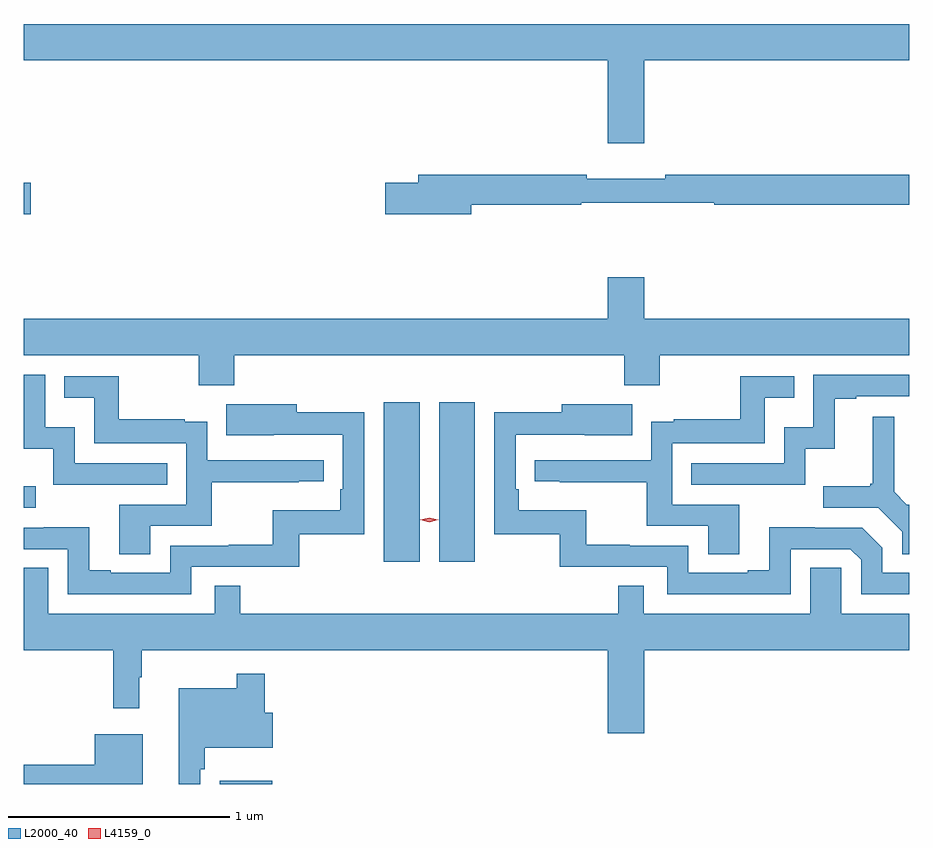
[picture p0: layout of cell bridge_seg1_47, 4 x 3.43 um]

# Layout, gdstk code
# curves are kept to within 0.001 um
import gdstk
lib = gdstk.Library(unit=1e-6, precision=1e-09)
def R(c, l, rs):  # rectangles x0, y0, x1, y1
    for r in rs: c.add(gdstk.rectangle(r[:2], r[2:], *l))
def P(c, l, *ps):  # polygons
    for p in ps: c.add(gdstk.Polygon(p, *l))
L2000_40 = (2000, 40)
L4159_0 = (4159, 0)

bridge_seg1_47 = lib.new_cell('bridge_seg1_47')
R(bridge_seg1_47, L2000_40, [(1086.332,545.8,1086.568,545.815), (1087.073,546.804,1087.234,547.525), (1087.322,546.804,1087.483,547.525), (1085.446,547.047,1085.5,547.144), (1085.446,548.374,1085.479,548.516)])
P(bridge_seg1_47, L2000_40, [(1088.248,549.068),(1089.446,549.068),(1089.446,549.232),(1085.446,549.232),(1085.446,549.068),(1088.084,549.068),(1088.084,548.694),(1088.248,548.694)],
  [(1087.468,548.416),(1087.964,548.416),(1087.964,548.424),(1088.564,548.424),(1088.564,548.416),(1089.446,548.416),(1089.446,548.552),(1088.344,548.552),(1088.344,548.533),(1087.988,548.533),(1087.988,548.552),(1087.229,548.552),(1087.229,548.516),(1087.08,548.516),(1087.08,548.374),(1087.468,548.374)],
  [(1086.398,547.736),(1088.159,547.736),(1088.159,547.601),(1088.319,547.601),(1088.319,547.736),(1089.446,547.736),(1089.446,547.9),(1088.248,547.9),(1088.248,548.089),(1088.084,548.089),(1088.084,547.9),(1085.446,547.9),(1085.446,547.736),(1086.238,547.736),(1086.238,547.601),(1086.398,547.601)],
  [(1086.095,547.248),(1085.676,547.248),(1085.676,547.411),(1085.544,547.411),(1085.544,547.647),(1085.446,547.647),(1085.446,547.539),(1085.447,547.539),(1085.447,547.313),(1085.58,547.313),(1085.58,547.152),(1086.095,547.152)],
  [(1088.976,547.313),(1089.109,547.313),(1089.109,547.539),(1089.205,547.539),(1089.205,547.551),(1089.446,547.551),(1089.446,547.647),(1089.012,547.647),(1089.012,547.411),(1088.88,547.411),(1088.88,547.248),(1088.461,547.248),(1088.461,547.152),(1088.976,547.152)],
  [(1086.019,546.966),(1086.296,546.966),(1086.296,547.162),(1086.689,547.162),(1086.689,547.167),(1086.802,547.167),(1086.802,547.263),(1086.276,547.263),(1086.276,547.435),(1086.173,547.435),(1086.173,547.447),(1085.875,547.447),(1085.875,547.641),(1085.629,547.641),(1085.629,547.544),(1085.764,547.544),(1085.764,547.338),(1086.18,547.338),(1086.18,547.062),(1085.879,547.062),(1085.879,546.838),(1086.019,546.838)],
  [(1088.677,547.062),(1088.376,547.062),(1088.376,547.338),(1088.793,547.338),(1088.793,547.544),(1088.927,547.544),(1088.927,547.641),(1088.682,547.641),(1088.682,547.447),(1088.383,547.447),(1088.383,547.435),(1088.28,547.435),(1088.28,547.263),(1087.755,547.263),(1087.755,547.167),(1087.867,547.167),(1087.867,547.162),(1088.26,547.162),(1088.26,546.966),(1088.537,546.966),(1088.537,546.838),(1088.677,546.838)],
  [(1086.204,546.78),(1086.691,546.78),(1086.691,546.927),(1086.984,546.927),(1086.984,547.478),(1086.679,547.478),(1086.679,547.516),(1086.361,547.516),(1086.361,547.376),(1086.575,547.376),(1086.575,547.377),(1086.888,547.377),(1086.888,547.132),(1086.875,547.132),(1086.875,547.036),(1086.57,547.036),(1086.57,546.881),(1086.373,546.881),(1086.373,546.876),(1086.108,546.876),(1086.108,546.753),(1085.839,546.753),(1085.839,546.766),(1085.743,546.766),(1085.743,546.959),(1085.538,546.959),(1085.538,546.957),(1085.446,546.957),(1085.446,546.861),(1085.646,546.861),(1085.646,546.657),(1086.204,546.657)],
  [(1088.91,546.861),(1089.18,546.861),(1089.228,546.813),(1089.228,546.657),(1089.446,546.657),(1089.446,546.753),(1089.324,546.753),(1089.324,546.867),(1089.234,546.957),(1089.018,546.957),(1089.018,546.959),(1088.813,546.959),(1088.813,546.766),(1088.717,546.766),(1088.717,546.753),(1088.448,546.753),(1088.448,546.876),(1088.183,546.876),(1088.183,546.881),(1087.987,546.881),(1087.987,547.036),(1087.682,547.036),(1087.682,547.132),(1087.668,547.132),(1087.668,547.377),(1088.195,547.376),(1088.195,547.516),(1087.877,547.516),(1087.877,547.478),(1087.572,547.478),(1087.572,546.927),(1087.866,546.927),(1087.866,546.78),(1088.352,546.78),(1088.352,546.657),(1088.91,546.657)],
  [(1089.446,547.062),(1089.435,547.062),(1089.378,547.119),(1089.378,547.459),(1089.281,547.459),(1089.281,547.156),(1089.27,547.156),(1089.27,547.144),(1089.057,547.144),(1089.057,547.047),(1089.306,547.047),(1089.413,546.94),(1089.413,546.838),(1089.446,546.838)],
  [(1088.248,546.404),(1089.446,546.404),(1089.446,546.568),(1089.138,546.568),(1089.138,546.776),(1088.999,546.776),(1088.999,546.568),(1088.247,546.568),(1088.247,546.695),(1088.131,546.695),(1088.131,546.568),(1086.425,546.568),(1086.425,546.695),(1086.309,546.695),(1086.309,546.568),(1085.557,546.568),(1085.557,546.776),(1085.446,546.776),(1085.446,546.404),(1085.851,546.404),(1085.851,546.141),(1085.968,546.141),(1085.968,546.281),(1085.98,546.281),(1085.98,546.404),(1088.084,546.404),(1088.084,546.03),(1088.248,546.03)],
  [(1086.243,545.867),(1086.263,545.867),(1086.263,545.963),(1086.571,545.963),(1086.571,546.121),(1086.536,546.121),(1086.536,546.298),(1086.408,546.298),(1086.408,546.232),(1086.146,546.232),(1086.146,545.8),(1086.243,545.8)],
  [(1085.983,546.025),(1085.768,546.025),(1085.768,545.888),(1085.446,545.888),(1085.446,545.8),(1085.983,545.8)])
P(bridge_seg1_47, L4159_0, [(1087.278,546.983),(1087.238,546.993),(1087.238,546.993),(1087.238,546.994),(1087.278,547.003),(1087.318,546.994),(1087.318,546.993),(1087.318,546.993)])

lib.write_gds('bridge_seg1_47.gds')
